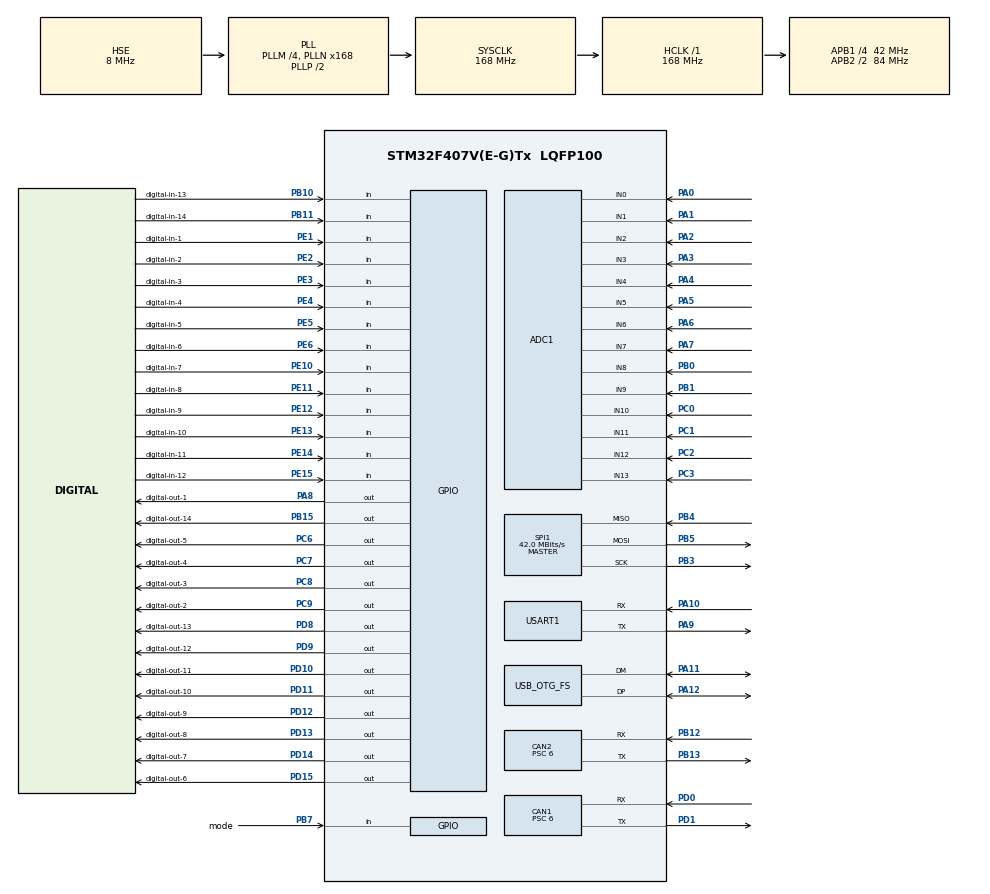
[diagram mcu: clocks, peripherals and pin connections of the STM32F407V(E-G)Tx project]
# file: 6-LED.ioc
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ADC1.Channel-0\#ChannelRegularConversion=ADC_CHANNEL_10
ADC1.Channel-1\#ChannelRegularConversion=ADC_CHANNEL_11
ADC1.Channel-10\#ChannelRegularConversion=ADC_CHANNEL_6
ADC1.Channel-11\#ChannelRegularConversion=ADC_CHANNEL_7
ADC1.Channel-12\#ChannelRegularConversion=ADC_CHANNEL_8
ADC1.Channel-13\#ChannelRegularConversion=ADC_CHANNEL_9
ADC1.Channel-2\#ChannelRegularConversion=ADC_CHANNEL_12
ADC1.Channel-3\#ChannelRegularConversion=ADC_CHANNEL_13
ADC1.Channel-4\#ChannelRegularConversion=ADC_CHANNEL_0
ADC1.Channel-5\#ChannelRegularConversion=ADC_CHANNEL_1
ADC1.Channel-6\#ChannelRegularConversion=ADC_CHANNEL_2
ADC1.Channel-7\#ChannelRegularConversion=ADC_CHANNEL_3
ADC1.Channel-8\#ChannelRegularConversion=ADC_CHANNEL_4
ADC1.Channel-9\#ChannelRegularConversion=ADC_CHANNEL_5
ADC1.ClockPrescaler=ADC_CLOCK_SYNC_PCLK_DIV4
ADC1.ContinuousConvMode=ENABLE
ADC1.DMAContinuousRequests=ENABLE
ADC1.DiscontinuousConvMode=DISABLE
ADC1.EOCSelection=ADC_EOC_SEQ_CONV
ADC1.InjNumberOfConversion=0
ADC1.NbrOfConversion=14
ADC1.NbrOfConversionFlag=1
ADC1.Rank-0\#ChannelRegularConversion=1
ADC1.Rank-1\#ChannelRegularConversion=2
ADC1.Rank-10\#ChannelRegularConversion=11
ADC1.Rank-11\#ChannelRegularConversion=12
ADC1.Rank-12\#ChannelRegularConversion=13
ADC1.Rank-13\#ChannelRegularConversion=14
ADC1.Rank-2\#ChannelRegularConversion=3
ADC1.Rank-3\#ChannelRegularConversion=4
ADC1.Rank-4\#ChannelRegularConversion=5
ADC1.Rank-5\#ChannelRegularConversion=6
ADC1.Rank-6\#ChannelRegularConversion=7
ADC1.Rank-7\#ChannelRegularConversion=8
ADC1.Rank-8\#ChannelRegularConversion=9
ADC1.Rank-9\#ChannelRegularConversion=10
ADC1.SamplingTime-0\#ChannelRegularConversion=ADC_SAMPLETIME_144CYCLES
ADC1.SamplingTime-1\#ChannelRegularConversion=ADC_SAMPLETIME_144CYCLES
ADC1.SamplingTime-10\#ChannelRegularConversion=ADC_SAMPLETIME_144CYCLES
ADC1.SamplingTime-11\#ChannelRegularConversion=ADC_SAMPLETIME_144CYCLES
ADC1.SamplingTime-12\#ChannelRegularConversion=ADC_SAMPLETIME_144CYCLES
ADC1.SamplingTime-13\#ChannelRegularConversion=ADC_SAMPLETIME_144CYCLES
ADC1.SamplingTime-2\#ChannelRegularConversion=ADC_SAMPLETIME_144CYCLES
ADC1.SamplingTime-3\#ChannelRegularConversion=ADC_SAMPLETIME_144CYCLES
ADC1.SamplingTime-4\#ChannelRegularConversion=ADC_SAMPLETIME_144CYCLES
ADC1.SamplingTime-5\#ChannelRegularConversion=ADC_SAMPLETIME_144CYCLES
ADC1.SamplingTime-6\#ChannelRegularConversion=ADC_SAMPLETIME_144CYCLES
ADC1.SamplingTime-7\#ChannelRegularConversion=ADC_SAMPLETIME_144CYCLES
ADC1.SamplingTime-8\#ChannelRegularConversion=ADC_SAMPLETIME_144CYCLES
ADC1.SamplingTime-9\#ChannelRegularConversion=ADC_SAMPLETIME_144CYCLES
ADC1.ScanConvMode=ENABLE
ADC1.master=1
CAN1.ABOM=ENABLE
CAN1.BS1=CAN_BS1_11TQ
CAN1.BS2=CAN_BS2_2TQ
CAN1.CalculateBaudRate=500000
CAN1.CalculateTimeBit=2000
CAN1.CalculateTimeQuantum=142.85714285714286
CAN1.NART=ENABLE
CAN1.Prescaler=6
CAN1.SJW=CAN_SJW_1TQ
CAN1.TXFP=ENABLE
CAN2.ABOM=ENABLE
CAN2.BS1=CAN_BS1_11TQ
CAN2.BS2=CAN_BS2_2TQ
CAN2.CalculateBaudRate=500000
CAN2.CalculateTimeBit=2000
CAN2.CalculateTimeQuantum=142.85714285714286
CAN2.NART=ENABLE
CAN2.Prescaler=6
CAN2.TXFP=ENABLE
Dma.ADC1.0.Direction=DMA_PERIPH_TO_MEMORY
Dma.ADC1.0.FIFOMode=DMA_FIFOMODE_DISABLE
Dma.ADC1.0.Instance=DMA2_Stream0
Dma.ADC1.0.MemDataAlignment=DMA_MDATAALIGN_HALFWORD
Dma.ADC1.0.MemInc=DMA_MINC_ENABLE
Dma.ADC1.0.Mode=DMA_CIRCULAR
Dma.ADC1.0.PeriphDataAlignment=DMA_PDATAALIGN_HALFWORD
Dma.ADC1.0.PeriphInc=DMA_PINC_DISABLE
Dma.ADC1.0.Priority=DMA_PRIORITY_HIGH
Dma.Request0=ADC1
Dma.Request1=USART1_TX
Dma.USART1_TX.1.Direction=DMA_MEMORY_TO_PERIPH
Dma.USART1_TX.1.FIFOMode=DMA_FIFOMODE_DISABLE
Dma.USART1_TX.1.Instance=DMA2_Stream7
Dma.USART1_TX.1.MemDataAlignment=DMA_MDATAALIGN_BYTE
Dma.USART1_TX.1.MemInc=DMA_MINC_ENABLE
Dma.USART1_TX.1.Mode=DMA_NORMAL
Dma.USART1_TX.1.PeriphDataAlignment=DMA_PDATAALIGN_BYTE
Dma.USART1_TX.1.PeriphInc=DMA_PINC_DISABLE
Dma.USART1_TX.1.Priority=DMA_PRIORITY_HIGH
Mcu.Family=STM32F4
Mcu.Name=STM32F407V(E-G)Tx
Mcu.Package=LQFP100
NVIC.CAN1_RX0_IRQn=true\:0\:0\:false\:false\:true\:true\:true\:true
NVIC.CAN1_TX_IRQn=true\:0\:0\:false\:false\:true\:true\:true\:true
NVIC.CAN2_RX0_IRQn=true\:0\:0\:false\:false\:true\:true\:true\:true
NVIC.CAN2_TX_IRQn=true\:0\:0\:false\:false\:true\:true\:true\:true
NVIC.DMA2_Stream0_IRQn=true\:0\:0\:false\:false\:true\:false\:true\:true
NVIC.DMA2_Stream7_IRQn=true\:0\:0\:false\:false\:true\:false\:true\:true
NVIC.PriorityGroup=NVIC_PRIORITYGROUP_4
NVIC.USART1_IRQn=true\:0\:0\:false\:false\:true\:true\:true\:true
PA0-WKUP.Signal=ADCx_IN0
PA1.Signal=ADCx_IN1
PA10.Mode=Asynchronous
PA10.Signal=USART1_RX
PA11.Mode=Host_Only
PA11.Signal=USB_OTG_FS_DM
PA12.Mode=Host_Only
PA12.Signal=USB_OTG_FS_DP
PA13.Mode=Serial_Wire
PA13.Signal=SYS_JTMS-SWDIO
PA14.Mode=Serial_Wire
PA14.Signal=SYS_JTCK-SWCLK
PA2.Signal=ADCx_IN2
PA3.Signal=ADCx_IN3
PA4.Signal=ADCx_IN4
PA5.Signal=ADCx_IN5
PA6.Signal=ADCx_IN6
PA7.Signal=ADCx_IN7
PA8.GPIO_Label=digital-out-1
PA8.Signal=GPIO_Output
PA9.Mode=Asynchronous
PA9.Signal=USART1_TX
PB0.Signal=ADCx_IN8
PB1.Signal=ADCx_IN9
PB10.GPIO_Label=digital-in-13
PB10.Signal=GPIO_Input
PB11.GPIO_Label=digital-in-14
PB11.Signal=GPIO_Input
PB12.Mode=CAN_Activate
PB12.Signal=CAN2_RX
PB13.Mode=CAN_Activate
PB13.Signal=CAN2_TX
PB15.GPIO_Label=digital-out-14
PB15.Signal=GPIO_Output
PB3.Mode=Full_Duplex_Master
PB3.Signal=SPI1_SCK
PB4.Mode=Full_Duplex_Master
PB4.Signal=SPI1_MISO
PB5.Mode=Full_Duplex_Master
PB5.Signal=SPI1_MOSI
PB7.GPIO_Label=mode
PB7.Signal=GPIO_Input
PC0.Signal=ADCx_IN10
PC1.Signal=ADCx_IN11
PC2.Signal=ADCx_IN12
PC3.Signal=ADCx_IN13
PC6.GPIO_Label=digital-out-5
PC6.Signal=GPIO_Output
PC7.GPIO_Label=digital-out-4
PC7.Signal=GPIO_Output
PC8.GPIO_Label=digital-out-3
PC8.Signal=GPIO_Output
PC9.GPIO_Label=digital-out-2
PC9.Signal=GPIO_Output
PD0.Mode=CAN_Activate
PD0.Signal=CAN1_RX
PD1.Mode=CAN_Activate
PD1.Signal=CAN1_TX
PD10.GPIO_Label=digital-out-11
PD10.Signal=GPIO_Output
PD11.GPIO_Label=digital-out-10
PD11.Signal=GPIO_Output
PD12.GPIO_Label=digital-out-9
PD12.Signal=GPIO_Output
PD13.GPIO_Label=digital-out-8
PD13.Signal=GPIO_Output
PD14.GPIO_Label=digital-out-7
PD14.Signal=GPIO_Output
PD15.GPIO_Label=digital-out-6
PD15.Signal=GPIO_Output
PD8.GPIO_Label=digital-out-13
PD8.Signal=GPIO_Output
PD9.GPIO_Label=digital-out-12
PD9.Signal=GPIO_Output
PE1.GPIO_Label=digital-in-1
PE1.Signal=GPIO_Input
PE10.GPIO_Label=digital-in-7
PE10.Signal=GPIO_Input
PE11.GPIO_Label=digital-in-8
PE11.Signal=GPIO_Input
PE12.GPIO_Label=digital-in-9
PE12.Signal=GPIO_Input
PE13.GPIO_Label=digital-in-10
PE13.Signal=GPIO_Input
PE14.GPIO_Label=digital-in-11
PE14.Signal=GPIO_Input
PE15.GPIO_Label=digital-in-12
PE15.Signal=GPIO_Input
PE2.GPIO_Label=digital-in-2
PE2.Signal=GPIO_Input
PE3.GPIO_Label=digital-in-3
PE3.Signal=GPIO_Input
PE4.GPIO_Label=digital-in-4
PE4.Signal=GPIO_Input
PE5.GPIO_Label=digital-in-5
PE5.Signal=GPIO_Input
PE6.GPIO_Label=digital-in-6
PE6.Signal=GPIO_Input
PH0-OSC_IN.Mode=HSE-External-Oscillator
PH0-OSC_IN.Signal=RCC_OSC_IN
PH1-OSC_OUT.Mode=HSE-External-Oscillator
PH1-OSC_OUT.Signal=RCC_OSC_OUT
ProjectManager.HeapSize=0x200
ProjectManager.StackSize=0x400
ProjectManager.TargetToolchain=MDK-ARM V5
RCC.48MHZClocksFreq_Value=48000000
RCC.AHBFreq_Value=168000000
RCC.APB1CLKDivider=RCC_HCLK_DIV4
RCC.APB1Freq_Value=42000000
RCC.APB1TimFreq_Value=84000000
RCC.APB2CLKDivider=RCC_HCLK_DIV2
RCC.APB2Freq_Value=84000000
RCC.APB2TimFreq_Value=168000000
RCC.CortexFreq_Value=168000000
RCC.HCLKFreq_Value=168000000
RCC.HSE_VALUE=8000000
RCC.HSI_VALUE=16000000
RCC.LSE_VALUE=32768
RCC.PLLM=4
RCC.PLLN=168
RCC.PLLQ=7
RCC.SYSCLKFreq_VALUE=168000000
RCC.SYSCLKSource=RCC_SYSCLKSOURCE_PLLCLK
RCC.VCOOutputFreq_Value=336000000
SH.ADCx_IN0.0=ADC1_IN0,IN0
SH.ADCx_IN1.0=ADC1_IN1,IN1
SH.ADCx_IN10.0=ADC1_IN10,IN10
SH.ADCx_IN11.0=ADC1_IN11,IN11
SH.ADCx_IN12.0=ADC1_IN12,IN12
SH.ADCx_IN13.0=ADC1_IN13,IN13
SH.ADCx_IN2.0=ADC1_IN2,IN2
SH.ADCx_IN3.0=ADC1_IN3,IN3
SH.ADCx_IN4.0=ADC1_IN4,IN4
SH.ADCx_IN5.0=ADC1_IN5,IN5
SH.ADCx_IN6.0=ADC1_IN6,IN6
SH.ADCx_IN7.0=ADC1_IN7,IN7
SH.ADCx_IN8.0=ADC1_IN8,IN8
SH.ADCx_IN9.0=ADC1_IN9,IN9
SPI1.BaudRatePrescaler=SPI_BAUDRATEPRESCALER_2
SPI1.CalculateBaudRate=42.0 MBits/s
SPI1.Direction=SPI_DIRECTION_2LINES
SPI1.Mode=SPI_MODE_MASTER
SPI1.VirtualType=VM_MASTER
USART1.VirtualMode=VM_ASYNC
USB_OTG_FS.VirtualMode=Host_Only
USB_OTG_FS.phy_itface=HCD_PHY_EMBEDDED
board=custom

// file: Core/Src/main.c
/* USER CODE BEGIN Header */
/**
  ******************************************************************************
  * @file           : main.c
  * @brief          : Main program body
  ******************************************************************************
  * @attention
  *
  * Copyright (c) 2026 STMicroelectronics.
  * All rights reserved.
  *
  * This software is licensed under terms that can be found in the LICENSE file
  * in the root directory of this software component.
  * If no LICENSE file comes with this software, it is provided AS-IS.
  *
  ******************************************************************************
  */
/* USER CODE END Header */
#include "main.h"

/* USER CODE BEGIN Includes */
#include "can_link.h"
#include "out14.h"
#include "STM32PrintfUART.h"
/* USER CODE END Includes */

ADC_HandleTypeDef hadc1;
DMA_HandleTypeDef hdma_adc1;

CAN_HandleTypeDef hcan1;
CAN_HandleTypeDef hcan2;

SPI_HandleTypeDef hspi1;

UART_HandleTypeDef huart1;
DMA_HandleTypeDef hdma_usart1_tx;

HCD_HandleTypeDef hhcd_USB_OTG_FS;

void SystemClock_Config(void);
static void MX_GPIO_Init(void);
static void MX_DMA_Init(void);
static void MX_ADC1_Init(void);
static void MX_CAN1_Init(void);
static void MX_CAN2_Init(void);
static void MX_SPI1_Init(void);
static void MX_USART1_UART_Init(void);
static void MX_USB_OTG_FS_HCD_Init(void);

/* USER CODE BEGIN 0 */

extern ADC_HandleTypeDef hadc1;

uint32_t ADC_Read_PB1(void)
{
    uint32_t value = 0;

    HAL_ADC_Start(&hadc1);

    if (HAL_ADC_PollForConversion(&hadc1, 100) == HAL_OK)
    {
        value = HAL_ADC_GetValue(&hadc1);
    }

    HAL_ADC_Stop(&hadc1);

    return value;
}

#define ADC_MAX_VALUE       4095.0f
#define ADC_REFERENCE_V     3.3f
#define SHUNT_RESISTANCE_OHM 100.0f

#define SENSOR_MIN_CURRENT_MA 4.0f
#define SENSOR_MAX_CURRENT_MA 20.0f
#define PRESSURE_MIN_BAR      0.0f
#define PRESSURE_MAX_BAR      16.0f
void ReadAndPrintSensor(void)
{
    uint32_t adc_value;
    float voltage;
    float current_mA;
    float pressure_bar;

    adc_value = ADC_Read_PB1();

    // ????? ????? ADC ?? ?????
    voltage = ((float)adc_value * ADC_REFERENCE_V) / ADC_MAX_VALUE;

    // ????? ????? ?? ?? ?????? 100 ??? ?? ?????
    current_mA = (voltage / SHUNT_RESISTANCE_OHM) * 1000.0f;

    // ????? ???? ?? 4 ????????? ???? ???? ?? ???? ?????
    if (current_mA < SENSOR_MIN_CURRENT_MA)
    {
        printf("ADC: %lu | V: %.3f V | I: %.2f mA | Sensor disconnected\r\n",
               (unsigned long)adc_value,
               voltage,
               current_mA);
    }
    else
    {
        // ????????? ????? ???? ??????? ?? ???? ???? ?? ????? ?? ??????
        if (current_mA > SENSOR_MAX_CURRENT_MA)
        {
            current_mA = SENSOR_MAX_CURRENT_MA;
        }

        // ????? ??? 4 ?? 20 ????????? ?? 0 ?? 16 ???
        pressure_bar = ((current_mA - SENSOR_MIN_CURRENT_MA) /
                        (SENSOR_MAX_CURRENT_MA - SENSOR_MIN_CURRENT_MA)) *
                       (PRESSURE_MAX_BAR - PRESSURE_MIN_BAR);

        printf("ADC: %lu | V: %.3f V | I: %.2f mA | Pressure: %.2f bar\r\n",
               (unsigned long)adc_value,
               voltage,
               current_mA,
               pressure_bar);
    }
}
/* USER CODE END 0 */

int main(void)
{

  /* MCU Configuration--------------------------------------------------------*/

  /* Reset of all peripherals, Initializes the Flash interface and the Systick. */
  HAL_Init();

  /* Configure the system clock */
  SystemClock_Config();

  /* Initialize all configured peripherals */
  MX_GPIO_Init();
  MX_DMA_Init();
  MX_ADC1_Init();
  MX_CAN1_Init();
  MX_CAN2_Init();
  MX_SPI1_Init();
  MX_USART1_UART_Init();
  MX_USB_OTG_FS_HCD_Init();
  /* USER CODE BEGIN 2 */
	//DigitalOut_Init(&hadc1);
	CanLink_Init(&hcan1, &hcan2);
	setvbuf(stdout, NULL, _IONBF, 0);
	static GPIO_TypeDef * const blink_port[14] = {
  digital_out_1_GPIO_Port, digital_out_2_GPIO_Port, digital_out_3_GPIO_Port,
  digital_out_4_GPIO_Port, digital_out_5_GPIO_Port, digital_out_6_GPIO_Port,
  digital_out_7_GPIO_Port, digital_out_8_GPIO_Port, digital_out_9_GPIO_Port,
  digital_out_10_GPIO_Port, digital_out_11_GPIO_Port, digital_out_12_GPIO_Port,
  digital_out_13_GPIO_Port, digital_out_14_GPIO_Port };
static const uint16_t blink_pin[14] = {
  digital_out_1_Pin, digital_out_2_Pin, digital_out_3_Pin, digital_out_4_Pin,
  digital_out_5_Pin, digital_out_6_Pin, digital_out_7_Pin, digital_out_8_Pin,
  digital_out_9_Pin, digital_out_10_Pin, digital_out_11_Pin, digital_out_12_Pin,
  digital_out_13_Pin, digital_out_14_Pin };
  /* USER CODE END 2 */

  /* Infinite loop */
  /* USER CODE BEGIN WHILE */
uint32_t adc14_value;
float adc14_voltage;
  while (1)
  {
		 //CanLink_Process();
		//DigitalOut_Process();
    //ReadAndPrintSensor();
		for (uint8_t i = 0; i < 14; i++) HAL_GPIO_WritePin(blink_port[i], blink_pin[i], GPIO_PIN_SET);
		HAL_Delay(1000);

  /* ????? ???? ??? ????? ?? */
		for (uint8_t i = 0; i < 14; i++) HAL_GPIO_WritePin(blink_port[i], blink_pin[i], GPIO_PIN_RESET);
		HAL_Delay(1000);

		//HAL_Delay(500);

    /* USER CODE END WHILE */

    /* USER CODE BEGIN 3 */
		//UART_TX_Task();
  }
  /* USER CODE END 3 */
}

void SystemClock_Config(void)
{
  RCC_OscInitTypeDef RCC_OscInitStruct = {0};
  RCC_ClkInitTypeDef RCC_ClkInitStruct = {0};

  /** Configure the main internal regulator output voltage
  */
  __HAL_RCC_PWR_CLK_ENABLE();
  __HAL_PWR_VOLTAGESCALING_CONFIG(PWR_REGULATOR_VOLTAGE_SCALE1);

  /** Initializes the RCC Oscillators according to the specified parameters
  * in the RCC_OscInitTypeDef structure.
  */
  RCC_OscInitStruct.OscillatorType = RCC_OSCILLATORTYPE_HSE;
  RCC_OscInitStruct.HSEState = RCC_HSE_ON;
  RCC_OscInitStruct.PLL.PLLState = RCC_PLL_ON;
  RCC_OscInitStruct.PLL.PLLSource = RCC_PLLSOURCE_HSE;
  RCC_OscInitStruct.PLL.PLLM = 4;
  RCC_OscInitStruct.PLL.PLLN = 168;
  RCC_OscInitStruct.PLL.PLLP = RCC_PLLP_DIV2;
  RCC_OscInitStruct.PLL.PLLQ = 7;
  if (HAL_RCC_OscConfig(&RCC_OscInitStruct) != HAL_OK)
  {
    Error_Handler();
  }

  /** Initializes the CPU, AHB and APB buses clocks
  */
  RCC_ClkInitStruct.ClockType = RCC_CLOCKTYPE_HCLK|RCC_CLOCKTYPE_SYSCLK
                              |RCC_CLOCKTYPE_PCLK1|RCC_CLOCKTYPE_PCLK2;
  RCC_ClkInitStruct.SYSCLKSource = RCC_SYSCLKSOURCE_PLLCLK;
  RCC_ClkInitStruct.AHBCLKDivider = RCC_SYSCLK_DIV1;
  RCC_ClkInitStruct.APB1CLKDivider = RCC_HCLK_DIV4;
  RCC_ClkInitStruct.APB2CLKDivider = RCC_HCLK_DIV2;

  if (HAL_RCC_ClockConfig(&RCC_ClkInitStruct, FLASH_LATENCY_5) != HAL_OK)
  {
    Error_Handler();
  }
}

static void MX_ADC1_Init(void)
{

  ADC_ChannelConfTypeDef sConfig = {0};

  /** Configure the global features of the ADC (Clock, Resolution, Data Alignment and number of conversion)
  */
  hadc1.Instance = ADC1;
  hadc1.Init.ClockPrescaler = ADC_CLOCK_SYNC_PCLK_DIV4;
  hadc1.Init.Resolution = ADC_RESOLUTION_12B;
  hadc1.Init.ScanConvMode = ENABLE;
  hadc1.Init.ContinuousConvMode = ENABLE;
  hadc1.Init.DiscontinuousConvMode = DISABLE;
  hadc1.Init.ExternalTrigConvEdge = ADC_EXTERNALTRIGCONVEDGE_NONE;
  hadc1.Init.ExternalTrigConv = ADC_SOFTWARE_START;
  hadc1.Init.DataAlign = ADC_DATAALIGN_RIGHT;
  hadc1.Init.NbrOfConversion = 14;
  hadc1.Init.DMAContinuousRequests = ENABLE;
  hadc1.Init.EOCSelection = ADC_EOC_SEQ_CONV;
  if (HAL_ADC_Init(&hadc1) != HAL_OK)
  {
    Error_Handler();
  }

  /** Configure for the selected ADC regular channel its corresponding rank in the sequencer and its sample time.
  */
  sConfig.Channel = ADC_CHANNEL_10;
  sConfig.Rank = 1;
  sConfig.SamplingTime = ADC_SAMPLETIME_144CYCLES;
  if (HAL_ADC_ConfigChannel(&hadc1, &sConfig) != HAL_OK)
  {
    Error_Handler();
  }

  /** Configure for the selected ADC regular channel its corresponding rank in the sequencer and its sample time.
  */
  sConfig.Channel = ADC_CHANNEL_11;
  sConfig.Rank = 2;
  if (HAL_ADC_ConfigChannel(&hadc1, &sConfig) != HAL_OK)
  {
    Error_Handler();
  }

  /** Configure for the selected ADC regular channel its corresponding rank in the sequencer and its sample time.
  */
  sConfig.Channel = ADC_CHANNEL_12;
  sConfig.Rank = 3;
  if (HAL_ADC_ConfigChannel(&hadc1, &sConfig) != HAL_OK)
  {
    Error_Handler();
  }

  /** Configure for the selected ADC regular channel its corresponding rank in the sequencer and its sample time.
  */
  sConfig.Channel = ADC_CHANNEL_13;
  sConfig.Rank = 4;
  if (HAL_ADC_ConfigChannel(&hadc1, &sConfig) != HAL_OK)
  {
    Error_Handler();
  }

  /** Configure for the selected ADC regular channel its corresponding rank in the sequencer and its sample time.
  */
  sConfig.Channel = ADC_CHANNEL_0;
  sConfig.Rank = 5;
  if (HAL_ADC_ConfigChannel(&hadc1, &sConfig) != HAL_OK)
  {
    Error_Handler();
  }

  /** Configure for the selected ADC regular channel its corresponding rank in the sequencer and its sample time.
  */
  sConfig.Channel = ADC_CHANNEL_1;
  sConfig.Rank = 6;
  if (HAL_ADC_ConfigChannel(&hadc1, &sConfig) != HAL_OK)
  {
    Error_Handler();
  }

  /** Configure for the selected ADC regular channel its corresponding rank in the sequencer and its sample time.
  */
  sConfig.Channel = ADC_CHANNEL_2;
  sConfig.Rank = 7;
  if (HAL_ADC_ConfigChannel(&hadc1, &sConfig) != HAL_OK)
  {
    Error_Handler();
  }

  /** Configure for the selected ADC regular channel its corresponding rank in the sequencer and its sample time.
  */
  sConfig.Channel = ADC_CHANNEL_3;
  sConfig.Rank = 8;
  if (HAL_ADC_ConfigChannel(&hadc1, &sConfig) != HAL_OK)
  {
    Error_Handler();
  }

  /** Configure for the selected ADC regular channel its corresponding rank in the sequencer and its sample time.
  */
  sConfig.Channel = ADC_CHANNEL_4;
  sConfig.Rank = 9;
  if (HAL_ADC_ConfigChannel(&hadc1, &sConfig) != HAL_OK)
  {
    Error_Handler();
  }

  /** Configure for the selected ADC regular channel its corresponding rank in the sequencer and its sample time.
  */
  sConfig.Channel = ADC_CHANNEL_5;
  sConfig.Rank = 10;
  if (HAL_ADC_ConfigChannel(&hadc1, &sConfig) != HAL_OK)
  {
    Error_Handler();
  }

  /** Configure for the selected ADC regular channel its corresponding rank in the sequencer and its sample time.
  */
  sConfig.Channel = ADC_CHANNEL_6;
  sConfig.Rank = 11;
  if (HAL_ADC_ConfigChannel(&hadc1, &sConfig) != HAL_OK)
  {
    Error_Handler();
  }

  /** Configure for the selected ADC regular channel its corresponding rank in the sequencer and its sample time.
  */
  sConfig.Channel = ADC_CHANNEL_7;
  sConfig.Rank = 12;
  if (HAL_ADC_ConfigChannel(&hadc1, &sConfig) != HAL_OK)
  {
    Error_Handler();
  }

  /** Configure for the selected ADC regular channel its corresponding rank in the sequencer and its sample time.
  */
  sConfig.Channel = ADC_CHANNEL_8;
  sConfig.Rank = 13;
  if (HAL_ADC_ConfigChannel(&hadc1, &sConfig) != HAL_OK)
  {
    Error_Handler();
  }

  /** Configure for the selected ADC regular channel its corresponding rank in the sequencer and its sample time.
  */
  sConfig.Channel = ADC_CHANNEL_9;
  sConfig.Rank = 14;
  if (HAL_ADC_ConfigChannel(&hadc1, &sConfig) != HAL_OK)
  {
    Error_Handler();
  }

}

static void MX_CAN1_Init(void)
{

  hcan1.Instance = CAN1;
  hcan1.Init.Prescaler = 6;
  hcan1.Init.Mode = CAN_MODE_NORMAL;
  hcan1.Init.SyncJumpWidth = CAN_SJW_1TQ;
  hcan1.Init.TimeSeg1 = CAN_BS1_11TQ;
  hcan1.Init.TimeSeg2 = CAN_BS2_2TQ;
  hcan1.Init.TimeTriggeredMode = DISABLE;
  hcan1.Init.AutoBusOff = ENABLE;
  hcan1.Init.AutoWakeUp = DISABLE;
  hcan1.Init.AutoRetransmission = ENABLE;
  hcan1.Init.ReceiveFifoLocked = DISABLE;
  hcan1.Init.TransmitFifoPriority = ENABLE;
  if (HAL_CAN_Init(&hcan1) != HAL_OK)
  {
    Error_Handler();
  }

}

static void MX_CAN2_Init(void)
{

  hcan2.Instance = CAN2;
  hcan2.Init.Prescaler = 6;
  hcan2.Init.Mode = CAN_MODE_NORMAL;
  hcan2.Init.SyncJumpWidth = CAN_SJW_1TQ;
  hcan2.Init.TimeSeg1 = CAN_BS1_11TQ;
  hcan2.Init.TimeSeg2 = CAN_BS2_2TQ;
  hcan2.Init.TimeTriggeredMode = DISABLE;
  hcan2.Init.AutoBusOff = ENABLE;
  hcan2.Init.AutoWakeUp = DISABLE;
  hcan2.Init.AutoRetransmission = ENABLE;
  hcan2.Init.ReceiveFifoLocked = DISABLE;
  hcan2.Init.TransmitFifoPriority = ENABLE;
  if (HAL_CAN_Init(&hcan2) != HAL_OK)
  {
    Error_Handler();
  }

}

static void MX_SPI1_Init(void)
{

  /* SPI1 parameter configuration*/
  hspi1.Instance = SPI1;
  hspi1.Init.Mode = SPI_MODE_MASTER;
  hspi1.Init.Direction = SPI_DIRECTION_2LINES;
  hspi1.Init.DataSize = SPI_DATASIZE_8BIT;
  hspi1.Init.CLKPolarity = SPI_POLARITY_LOW;
  hspi1.Init.CLKPhase = SPI_PHASE_1EDGE;
  hspi1.Init.NSS = SPI_NSS_SOFT;
  hspi1.Init.BaudRatePrescaler = SPI_BAUDRATEPRESCALER_2;
  hspi1.Init.FirstBit = SPI_FIRSTBIT_MSB;
  hspi1.Init.TIMode = SPI_TIMODE_DISABLE;
  hspi1.Init.CRCCalculation = SPI_CRCCALCULATION_DISABLE;
  hspi1.Init.CRCPolynomial = 10;
  if (HAL_SPI_Init(&hspi1) != HAL_OK)
  {
    Error_Handler();
  }

}

static void MX_USART1_UART_Init(void)
{

  huart1.Instance = USART1;
  huart1.Init.BaudRate = 115200;
  huart1.Init.WordLength = UART_WORDLENGTH_8B;
  huart1.Init.StopBits = UART_STOPBITS_1;
  huart1.Init.Parity = UART_PARITY_NONE;
  huart1.Init.Mode = UART_MODE_TX_RX;
  huart1.Init.HwFlowCtl = UART_HWCONTROL_NONE;
  huart1.Init.OverSampling = UART_OVERSAMPLING_16;
  if (HAL_UART_Init(&huart1) != HAL_OK)
  {
    Error_Handler();
  }

}

static void MX_USB_OTG_FS_HCD_Init(void)
{

  hhcd_USB_OTG_FS.Instance = USB_OTG_FS;
  hhcd_USB_OTG_FS.Init.Host_channels = 8;
  hhcd_USB_OTG_FS.Init.speed = HCD_SPEED_FULL;
  hhcd_USB_OTG_FS.Init.dma_enable = DISABLE;
  hhcd_USB_OTG_FS.Init.phy_itface = HCD_PHY_EMBEDDED;
  hhcd_USB_OTG_FS.Init.Sof_enable = DISABLE;
  if (HAL_HCD_Init(&hhcd_USB_OTG_FS) != HAL_OK)
  {
    Error_Handler();
  }

}

static void MX_DMA_Init(void)
{

  /* DMA controller clock enable */
  __HAL_RCC_DMA2_CLK_ENABLE();

  /* DMA interrupt init */
  /* DMA2_Stream0_IRQn interrupt configuration */
  HAL_NVIC_SetPriority(DMA2_Stream0_IRQn, 0, 0);
  HAL_NVIC_EnableIRQ(DMA2_Stream0_IRQn);
  /* DMA2_Stream7_IRQn interrupt configuration */
  HAL_NVIC_SetPriority(DMA2_Stream7_IRQn, 0, 0);
  HAL_NVIC_EnableIRQ(DMA2_Stream7_IRQn);

}

static void MX_GPIO_Init(void)
{
  GPIO_InitTypeDef GPIO_InitStruct = {0};

  /* GPIO Ports Clock Enable */
  __HAL_RCC_GPIOE_CLK_ENABLE();
  __HAL_RCC_GPIOH_CLK_ENABLE();
  __HAL_RCC_GPIOC_CLK_ENABLE();
  __HAL_RCC_GPIOA_CLK_ENABLE();
  __HAL_RCC_GPIOB_CLK_ENABLE();
  __HAL_RCC_GPIOD_CLK_ENABLE();

  /*Configure GPIO pin Output Level */
  HAL_GPIO_WritePin(digital_out_14_GPIO_Port, digital_out_14_Pin, GPIO_PIN_RESET);

  /*Configure GPIO pin Output Level */
  HAL_GPIO_WritePin(GPIOD, digital_out_13_Pin|digital_out_12_Pin|digital_out_11_Pin|digital_out_10_Pin
                          |digital_out_9_Pin|digital_out_8_Pin|digital_out_7_Pin|digital_out_6_Pin, GPIO_PIN_RESET);

  /*Configure GPIO pin Output Level */
  HAL_GPIO_WritePin(GPIOC, digital_out_5_Pin|digital_out_4_Pin|digital_out_3_Pin|digital_out_2_Pin, GPIO_PIN_RESET);

  /*Configure GPIO pin Output Level */
  HAL_GPIO_WritePin(digital_out_1_GPIO_Port, digital_out_1_Pin, GPIO_PIN_RESET);

  /*Configure GPIO pins : digital_in_2_Pin digital_in_3_Pin digital_in_4_Pin digital_in_5_Pin
                           digital_in_6_Pin digital_in_7_Pin digital_in_8_Pin digital_in_9_Pin
                           digital_in_10_Pin digital_in_11_Pin digital_in_12_Pin digital_in_1_Pin */
  GPIO_InitStruct.Pin = digital_in_2_Pin|digital_in_3_Pin|digital_in_4_Pin|digital_in_5_Pin
                          |digital_in_6_Pin|digital_in_7_Pin|digital_in_8_Pin|digital_in_9_Pin
                          |digital_in_10_Pin|digital_in_11_Pin|digital_in_12_Pin|digital_in_1_Pin;
  GPIO_InitStruct.Mode = GPIO_MODE_INPUT;
  GPIO_InitStruct.Pull = GPIO_NOPULL;
  HAL_GPIO_Init(GPIOE, &GPIO_InitStruct);

  /*Configure GPIO pins : digital_in_13_Pin digital_in_14_Pin mode_Pin */
  GPIO_InitStruct.Pin = digital_in_13_Pin|digital_in_14_Pin|mode_Pin;
  GPIO_InitStruct.Mode = GPIO_MODE_INPUT;
  GPIO_InitStruct.Pull = GPIO_NOPULL;
  HAL_GPIO_Init(GPIOB, &GPIO_InitStruct);

  /*Configure GPIO pin : digital_out_14_Pin */
  GPIO_InitStruct.Pin = digital_out_14_Pin;
  GPIO_InitStruct.Mode = GPIO_MODE_OUTPUT_PP;
  GPIO_InitStruct.Pull = GPIO_NOPULL;
  GPIO_InitStruct.Speed = GPIO_SPEED_FREQ_LOW;
  HAL_GPIO_Init(digital_out_14_GPIO_Port, &GPIO_InitStruct);

  /*Configure GPIO pins : digital_out_13_Pin digital_out_12_Pin digital_out_11_Pin digital_out_10_Pin
                           digital_out_9_Pin digital_out_8_Pin digital_out_7_Pin digital_out_6_Pin */
  GPIO_InitStruct.Pin = digital_out_13_Pin|digital_out_12_Pin|digital_out_11_Pin|digital_out_10_Pin
                          |digital_out_9_Pin|digital_out_8_Pin|digital_out_7_Pin|digital_out_6_Pin;
  GPIO_InitStruct.Mode = GPIO_MODE_OUTPUT_PP;
  GPIO_InitStruct.Pull = GPIO_NOPULL;
  GPIO_InitStruct.Speed = GPIO_SPEED_FREQ_LOW;
  HAL_GPIO_Init(GPIOD, &GPIO_InitStruct);

  /*Configure GPIO pins : digital_out_5_Pin digital_out_4_Pin digital_out_3_Pin digital_out_2_Pin */
  GPIO_InitStruct.Pin = digital_out_5_Pin|digital_out_4_Pin|digital_out_3_Pin|digital_out_2_Pin;
  GPIO_InitStruct.Mode = GPIO_MODE_OUTPUT_PP;
  GPIO_InitStruct.Pull = GPIO_NOPULL;
  GPIO_InitStruct.Speed = GPIO_SPEED_FREQ_LOW;
  HAL_GPIO_Init(GPIOC, &GPIO_InitStruct);

  /*Configure GPIO pin : digital_out_1_Pin */
  GPIO_InitStruct.Pin = digital_out_1_Pin;
  GPIO_InitStruct.Mode = GPIO_MODE_OUTPUT_PP;
  GPIO_InitStruct.Pull = GPIO_NOPULL;
  GPIO_InitStruct.Speed = GPIO_SPEED_FREQ_LOW;
  HAL_GPIO_Init(digital_out_1_GPIO_Port, &GPIO_InitStruct);

}

void Error_Handler(void)
{
  __disable_irq();
  while (1)
  {
  }
}
